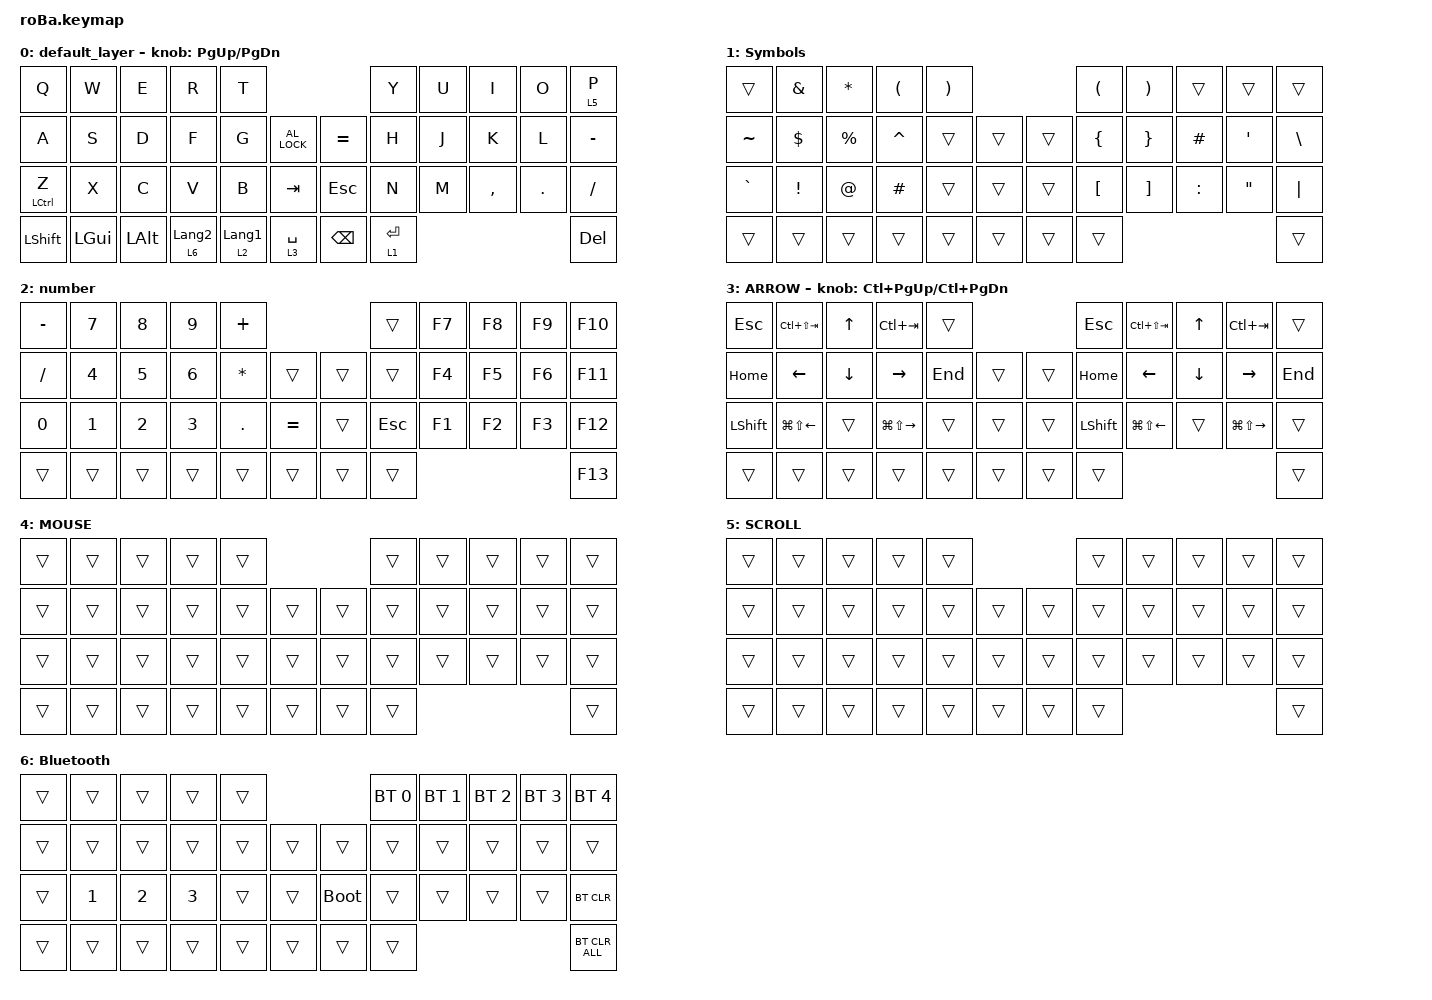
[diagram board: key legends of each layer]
#include <behaviors.dtsi>
#include <dt-bindings/zmk/bt.h>
#include <dt-bindings/zmk/keys.h>
#include <dt-bindings/zmk/pointing.h>

&mt {
    flavor = "balanced";
    quick-tap-ms = <0>;
};

&trackball {
    automouse-layer = <4>;
    scroll-layers = <5>;

    // arrows {
    //     layers = <3>;
    //     bindings =
    //         <&kp RIGHT_ARROW>,
    //         <&kp LEFT_ARROW>,
    //         <&kp UP_ARROW>,
    //         <&kp DOWN_ARROW>;
    //     tick = <10>;
    //     wait-ms = <5>;
    //     tap-ms = <5>;
    // };
};

/ {
    combos {
        compatible = "zmk,combos";

        l_click {
            bindings = <&mkp MB1>;
            key-positions = <18 19>;
        };

        m_click {
            bindings = <&mkp MB3>;
            key-positions = <18 19 20>;
        };

        r_click {
            bindings = <&mkp MB2>;
            key-positions = <19 20>;
        };

        bt0 {
            bindings = <&bt BT_SEL 0>;
            key-positions = <0 9>;
        };

        bt1 {
            bindings = <&bt BT_SEL 1>;
            key-positions = <21 10>;
        };

        bt2 {
            bindings = <&bt BT_SEL 2>;
            key-positions = <22 33>;
        };
    };

    macros {
        to_layer_0: to_layer_0 {
            compatible = "zmk,behavior-macro-one-param";
            #binding-cells = <1>;
            bindings = <&to 0 &macro_param_1to1 &kp MACRO_PLACEHOLDER>;
            label = "TO_LAYER_0";
        };

        mkp_exit_AML: mkp_exit_AML {
            compatible = "zmk,behavior-macro-one-param";
            #binding-cells = <1>;
            bindings =
                <&macro_press>,
                <&macro_param_1to1 &mkp MACRO_PLACEHOLDER>,
                <&macro_pause_for_release>,
                <&macro_release>,
                <&macro_param_1to1 &mkp MACRO_PLACEHOLDER>,
                <&macro_tap>,
                <&sl 4>;

            label = "MKP_EXIT_AML";
        };
    };

    behaviors {
        lt_to_layer_0: lt_to_layer_0 {
            compatible = "zmk,behavior-hold-tap";
            label = "LAYER_TAP_TO_0";
            bindings = <&mo>, <&to_layer_0>;

            #binding-cells = <2>;
            tapping-term-ms = <200>;
        };
    };

    keymap {
        compatible = "zmk,keymap";

        default_layer {
            bindings = <
&kp Q           &kp W         &kp E         &kp R             &kp T                                               &kp Y        &kp U  &kp I      &kp O    &lt 5 P
&kp A           &kp S         &kp D         &kp F             &kp G             &kp C_AL_LOCK      &kp EQUAL      &kp H        &kp J  &kp K      &kp L    &kp MINUS
&mt LCTRL Z     &kp X         &kp C         &kp V             &kp B             &kp TAB            &kp ESCAPE     &kp N        &kp M  &kp COMMA  &kp DOT  &kp SLASH
&kp LEFT_SHIFT  &kp LEFT_GUI  &kp LEFT_ALT  &lt 6 LANGUAGE_2  &lt 2 LANGUAGE_1  &lt 3 SPACE        &kp BACKSPACE  &lt 1 ENTER                             &kp DELETE
            >;

            sensor-bindings = <&inc_dec_kp PG_UP PAGE_DOWN>;
        };

        Symbols {
            bindings = <
&trans     &kp AMPERSAND  &kp ASTRK    &kp LEFT_PARENTHESIS  &kp RIGHT_PARENTHESIS                      &kp LEFT_PARENTHESIS  &kp RIGHT_PARENTHESIS  &trans     &trans             &trans
&kp TILDE  &kp DOLLAR     &kp PERCENT  &kp CARET             &trans                 &trans      &trans  &kp LEFT_BRACE        &kp RIGHT_BRACE        &kp HASH   &kp SINGLE_QUOTE   &kp BACKSLASH
&kp GRAVE  &kp EXCL       &kp AT       &kp HASH              &trans                 &trans      &trans  &kp LEFT_BRACKET      &kp RIGHT_BRACKET      &kp COLON  &kp DOUBLE_QUOTES  &kp PIPE
&trans     &trans         &trans       &trans                &trans                 &trans      &trans  &trans                                                                     &trans
            >;
        };

        number {
            bindings = <
&kp MINUS  &kp NUMBER_7  &kp NUMBER_8  &kp NUMBER_9  &kp PLUS                           &trans      &kp F7  &kp F8  &kp F9  &kp F10
&kp SLASH  &kp NUMBER_4  &kp NUMBER_5  &kp NUMBER_6  &kp ASTRK   &trans         &trans  &trans      &kp F4  &kp F5  &kp F6  &kp F11
&kp N0     &kp N1        &kp N2        &kp NUMBER_3  &kp PERIOD  &kp EQUAL      &trans  &kp ESCAPE  &kp F1  &kp F2  &kp F3  &kp F12
&trans     &trans        &trans        &trans        &trans      &trans         &trans  &trans                              &kp F13
            >;
        };

        ARROW {
            bindings = <
&kp ESCAPE      &kp LC(LS(TAB))         &kp UP_ARROW    &kp LC(TAB)              &trans                       &kp ESCAPE      &kp LC(LS(TAB))         &kp UP_ARROW    &kp LC(TAB)              &trans
&kp HOME        &kp LEFT_ARROW          &kp DOWN_ARROW  &kp RIGHT_ARROW          &kp END  &trans      &trans  &kp HOME        &kp LEFT_ARROW          &kp DOWN_ARROW  &kp RIGHT_ARROW          &kp END
&kp LEFT_SHIFT  &kp LG(LS(LEFT_ARROW))  &trans          &kp LG(LS(RIGHT_ARROW))  &trans   &trans      &trans  &kp LEFT_SHIFT  &kp LG(LS(LEFT_ARROW))  &trans          &kp LG(LS(RIGHT_ARROW))  &trans
&trans          &trans                  &trans          &trans                   &trans   &trans      &trans  &trans                                                                           &trans
            >;

            sensor-bindings = <&inc_dec_kp LC(PAGE_UP) LC(PAGE_DOWN)>;
        };

        MOUSE {
            bindings = <
&trans  &trans  &trans  &trans  &trans                      &trans  &trans  &trans  &trans  &trans
&trans  &trans  &trans  &trans  &trans  &trans      &trans  &trans  &trans  &trans  &trans  &trans
&trans  &trans  &trans  &trans  &trans  &trans      &trans  &trans  &trans  &trans  &trans  &trans
&trans  &trans  &trans  &trans  &trans  &trans      &trans  &trans                          &trans
            >;
        };

        SCROLL {
            bindings = <
&trans  &trans  &trans  &trans  &trans                      &trans  &trans  &trans  &trans  &trans
&trans  &trans  &trans  &trans  &trans  &trans      &trans  &trans  &trans  &trans  &trans  &trans
&trans  &trans  &trans  &trans  &trans  &trans      &trans  &trans  &trans  &trans  &trans  &trans
&trans  &trans  &trans  &trans  &trans  &trans      &trans  &trans                          &trans
            >;
        };

        Bluetooth {
            bindings = <
&trans  &trans        &trans        &trans        &trans                           &bt BT_SEL 0  &bt BT_SEL 1  &bt BT_SEL 2  &bt BT_SEL 3  &bt BT_SEL 4
&trans  &trans        &trans        &trans        &trans  &trans      &trans       &trans        &trans        &trans        &trans        &trans
&trans  &kp NUMBER_1  &kp NUMBER_2  &kp NUMBER_3  &trans  &trans      &bootloader  &trans        &trans        &trans        &trans        &bt BT_CLR
&trans  &trans        &trans        &trans        &trans  &trans      &trans       &trans                                                  &bt BT_CLR_ALL
            >;
        };
    };
};
